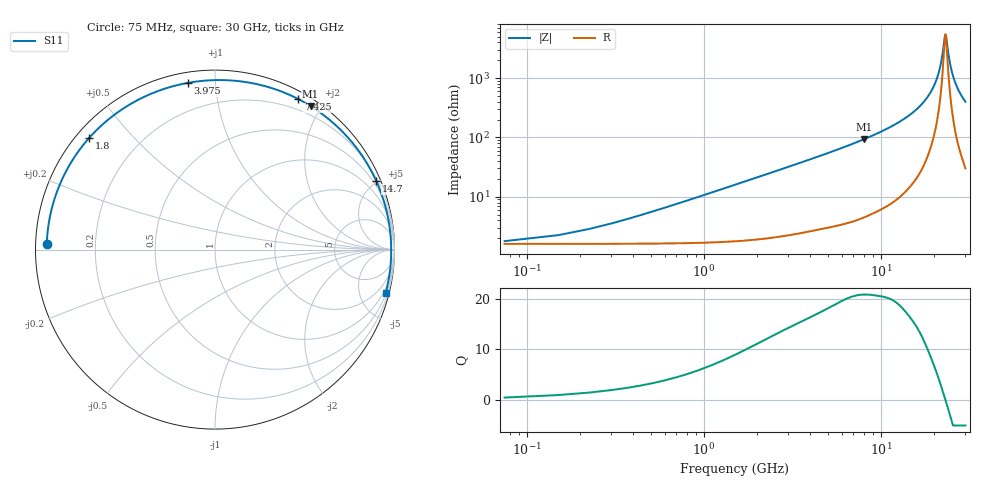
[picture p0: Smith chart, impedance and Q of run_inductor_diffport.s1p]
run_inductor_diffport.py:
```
import os
import sys
sys.path.insert(0, os.path.abspath(os.path.join(os.path.dirname(__file__), 'modules')))

import modules.util_stackup_reader as stackup_reader
import modules.util_gds_reader as gds_reader
import modules.util_utilities as utilities
import modules.util_simulation_setup as simulation_setup
import modules.util_meshlines as util_meshlines

from openEMS import openEMS
import numpy as np
import matplotlib.pyplot as plt

# Model comments
# Simple inductor model, 1 port only


# ======================== workflow settings ================================

# preview model/mesh only?
# postprocess existing data without re-running simulation?
preview_only = False
postprocess_only = False

# ===================== input files and path settings =======================

gds_filename = "L_2n0_simplified.gds"   # geometries
XML_filename = "SG13G2.xml"               # stackup

# preprocess GDSII for safe handling of cutouts/holes?
preprocess_gds = False

# merge via polygons with distance less than .. um, set 0 to disable via merging
merge_polygon_size = 1.0

# get path for this simulation file
script_path = utilities.get_script_path(__file__)

# use script filename as model basename
model_basename = utilities.get_basename(__file__)

# set and create directory for simulation output
sim_path = utilities.create_sim_path (script_path,model_basename)
print('Simulation data directory: ', sim_path)


# ======================== simulation settings ================================

unit   = 1e-6   # geometry is in microns
margin = 200    # distance in microns from GDSII geometry boundary to simulation boundary 

fstart = 0
fstop  = 30e9
numfreq = 401

refined_cellsize = 1.0  # mesh cell size in conductor region

# choices for boundary: 
# 'PEC' : perfect electric conductor (default)
# 'PMC' : perfect magnetic conductor, useful for symmetries
# 'MUR' : simple MUR absorbing boundary conditions
# 'PML_8' : PML absorbing boundary conditions
Boundaries = ['PEC', 'PEC', 'PEC', 'PEC', 'PEC', 'PEC']

cells_per_wavelength = 20   # how many mesh cells per wavelength, must be 10 or more
energy_limit = -50          # end criteria for residual energy (dB)

# ports from GDSII Data, polygon geometry from specified special layer
# note that for multiport simulation, excitations are switched on/off in simulation_setup.createSimulation below
simulation_ports = simulation_setup.all_simulation_ports()
simulation_ports.add_port(simulation_setup.simulation_port(portnumber=1, voltage=1, port_Z0=50, source_layernum=201, target_layername='TopMetal1', direction='x'))

# ======================== simulation ================================

# get technology stackup data
materials_list, dielectrics_list, metals_list = stackup_reader.read_substrate (XML_filename)
# get list of layers from technology
layernumbers = metals_list.getlayernumbers()
layernumbers.extend(simulation_ports.portlayers)

# read geometries from GDSII, only purpose 0
allpolygons = gds_reader.read_gds(gds_filename, layernumbers, purposelist=[0], metals_list=metals_list, preprocess=preprocess_gds, merge_polygon_size=merge_polygon_size)


# calculate maximum cellsize from wavelength in dielectric
wavelength_air = 3e8/fstop / unit
max_cellsize = (wavelength_air)/(np.sqrt(materials_list.eps_max)*cells_per_wavelength) 


########### create model, run and post-process ###########

# Create simulation for port 1 excitation, return value is data path for that excitation
excite_ports = [1]  # list of ports that are excited for this simulation run
FDTD = openEMS(EndCriteria=np.exp(energy_limit/10 * np.log(10)))
FDTD.SetGaussExcite( (fstart+fstop)/2, (fstop-fstart)/2 )
FDTD.SetBoundaryCond( Boundaries )
FDTD = simulation_setup.setupSimulation (excite_ports, 
                                         simulation_ports, 
                                         FDTD, 
                                         materials_list, 
                                         dielectrics_list, 
                                         metals_list, 
                                         allpolygons, 
                                         max_cellsize, 
                                         refined_cellsize, 
                                         margin, 
                                         unit,
                                         xy_mesh_function=util_meshlines.create_xy_mesh_from_polygons)

sub1_data_path = simulation_setup.runSimulation (excite_ports, FDTD, sim_path, model_basename, preview_only, postprocess_only)

# get results, CSX port definition is read from simulation ports object
CSX_port1 = simulation_ports.get_port_by_number(1).CSXport

# evaluate results for 1-port simulation
if not preview_only:  

  f = np.linspace(fstart,fstop,numfreq)
  s11 = utilities.calculate_Sij (1, 1, f, sim_path, simulation_ports)

  s1p_name = os.path.join(sim_path, model_basename + '.s1p')
  utilities.write_snp (np.array([s11]),f, s1p_name)

  # ignore divide by zero warning during inductor calculation at DC
  np.seterr(divide='ignore', invalid='ignore')

  Z0 = simulation_ports.get_port_by_number(1).port_Z0
  zdiff = Z0 * (1+s11)/(1-s11)
  omega = 2*np.pi*f
  Qdiff = zdiff.imag/zdiff.real
  Ldiff = zdiff.imag/omega
  Rdiff = zdiff.real

  # print some inductor data
  # get series L and series R at frequency of interest
  targetfreq = 10e9
  findex = np.where (f>=targetfreq)[0]
  findex = findex.item(0)

  print('\nDifferential inductor parameters')
  
  print(f"Frequency [GHz]: {f[findex]/1e9:.3f}")  
  print(f"Series L  [nH] : {Ldiff[findex]*1e9:.3f}")  
  print(f"Series R  [Ohm]: {Rdiff[findex]:.3f}") 
  print(f"Q factor       : {Qdiff[findex]:.2f}")  
  print('----------------------')
  print(f"L_DC      [nH] : {Ldiff[1]*1e9:.3f}") 
  print(f"R_DC      [Ohm]: {Rdiff[0]:.3f}")  
  print(f"Peak Q         : {max(Qdiff):.2f}") 


  fig, axis = plt.subplots(num="Inductance", tight_layout=True)
  axis.plot(f/1e9, Ldiff*1e9, 'k-',  linewidth=2, label='Lseries [nH]')
  axis.grid()
  axis.set_xmargin(0)
  axis.set_ylim([0, 10])
  axis.set_xlabel('Frequency (GHz)')
  axis.set_title("Inductance")
  axis.legend()


  fig, axis = plt.subplots(num="Q factor", tight_layout=True)
  axis.plot(f/1e9, Ldiff*1e9, 'k-',  linewidth=2, label='Lseries [nH]')
  axis.grid()
  axis.set_xmargin(0)
  axis.set_ylim([0, 30])
  axis.set_xlabel('Frequency (GHz)')
  axis.set_title("Q factor")
  axis.legend()

  # show all plots
  plt.show()
```
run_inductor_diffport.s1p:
#  Hz  S  RI  R  50
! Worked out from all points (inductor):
!   400 points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, 75 MHz to 30 GHz, reference 50 ohm
!   read as one part to ground: L = 1.68 nH near 525 MHz
!   highest Q = 20.8 at 8.025 GHz (marker M1), where L = 1.85 nH
!   self-resonance near 23.15 GHz
!   S11 on the Smith chart (normalised r, x): 75 MHz: 0.03, +0.02; 1.8 GHz: 0.04, +0.38; 3.975 GHz: 0.05, +0.85; 7.425 GHz: 0.08, +1.69; 14.7 GHz: 0.30, +4.89; 30 GHz: 0.60, -7.97
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7.5e7  -0.9373 0.0297
9e8  -0.8723 0.3437
1.8e9  -0.7001 0.6233
2.85e9  -0.4346 0.8312
3.975e9  -0.1496 0.9292
5.7e9  0.2097 0.9268
7.425e9  0.4646 0.8384
8.025e9  0.5324 0.7997
1.005e10  0.703 0.664
1.215e10  0.8155 0.5291
1.47e10  0.8983 0.3819
2.0025e10  0.9725 0.1268
2.4825e10  0.9801 -0.0625
3e10  0.9515 -0.2413
